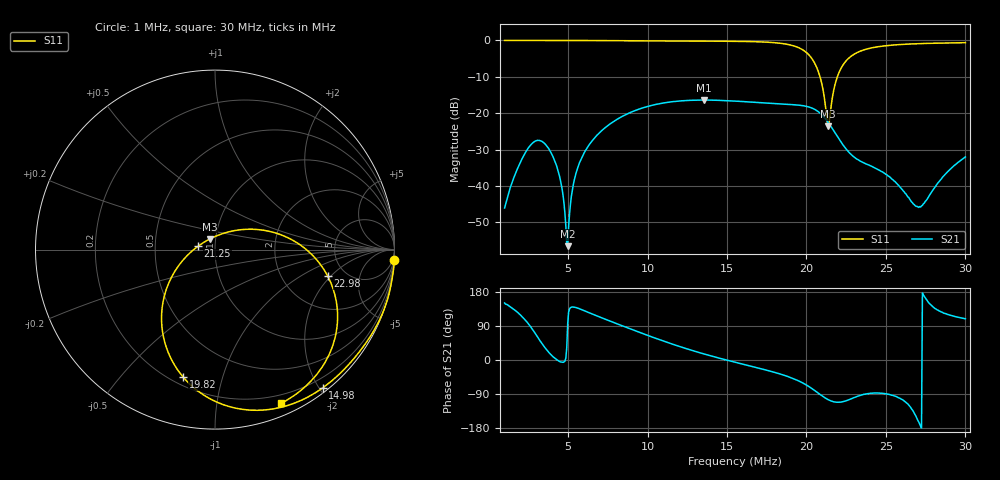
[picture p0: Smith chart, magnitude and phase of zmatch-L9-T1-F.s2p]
# HZ S RI R 50
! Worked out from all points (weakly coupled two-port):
!   505 points, 1 MHz to 30 MHz, reference 50 ohm
!   highest |S21| = -16.37 dB at 13.54 MHz (marker M1); lowest = -56.6 dB at 4.97 MHz (marker M2)
!   lowest |S11| = -23.6 dB at 21.37 MHz (marker M3), VSWR 1.14, Z = 46.8 + j5.52 ohm
!   |S11| at or under -10 dB: 20.85 MHz to 21.94 MHz (1.088 MHz wide, 5.09 % of centre)
!   S12 and S22 are empty: the file has one direction only
!   S11 on the Smith chart (normalised r, x): 1 MHz: -1, -35; 14.98 MHz: 0.06, -2.04; 19.82 MHz: 0.25, -0.75; 21.25 MHz: 0.83, +0.03; 22.98 MHz: 3.64, -1.84; 30 MHz: 0.11, -1.52
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1000000  0.9996 -0.0572  -0.00434 0.00245  0 0  0 0
2265880  0.9925 -0.1264  -0.00815 0.0265  0 0  0 0
3301600  0.9831 -0.1816  0.0286 0.03  0 0  0 0
4337320  0.9719 -0.2374  0.0169 -0.000199  0 0  0 0
4970260  0.9629 -0.272  -0.000153 0.00148  0 0  0 0
5315500  0.957 -0.2908  -0.00776 0.00656  0 0  0 0
5833360  0.9475 -0.3186  -0.0164 0.0175  0 0  0 0
7674640  0.905 -0.4153  -0.015 0.0706  0 0  0 0
1.066672e7  0.8106 -0.5615  0.0773 0.1097  0 0  0 0
1.354372e7  0.6863 -0.6996  0.1459 0.042  0 0  0 0
1.498222e7  0.5992 -0.7709  0.149 -0.000886  0 0  0 0
1.550008e7  0.5607 -0.7966  0.1461 -0.0151  0 0  0 0
1.981558e7  -0.1783 -0.7092  0.0599 -0.1116  0 0  0 0
2.033344e7  -0.2869 -0.4883  0.0301 -0.1141  0 0  0 0
2.090884e7  -0.241 -0.1511  -0.00432 -0.0976  0 0  0 0
2.125408e7  -0.094 0.0193  -0.0169 -0.0787  0 0  0 0
2.136916e7  -0.0302 0.0588  -0.019 -0.072  0 0  0 0
2.20021e7  0.3309 0.0945  -0.0167 -0.0426  0 0  0 0
2.298028e7  0.6279 -0.1475  -0.00408 -0.0248  0 0  0 0
2.51668e7  0.6474 -0.5583  -0.000114 -0.0136  0 0  0 0
2.712316e7  0.5389 -0.728  -0.00512 -0.000962  0 0  0 0
3.000016e7  0.37 -0.8564  -0.00809 0.0237  0 0  0 0
